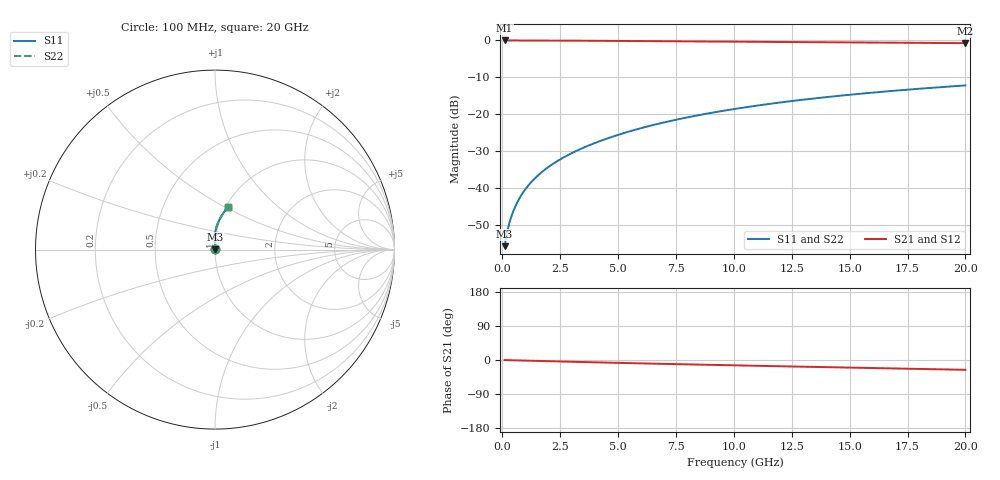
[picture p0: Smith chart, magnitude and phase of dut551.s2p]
! Touchstone file exported from HFSS 2024.1.0
!  File:  C:/UserFiles/LocalFiles/RDL_TSV_Batchsim/temp_RDL_top_551_1779680951.aedt
!  Generated:  11:51:07 AM May 25, 2026
!  Design:  RDL_top
!  Project:  temp_RDL_top_551_1779680951
!  Setup:  Setup1
!  Solution:  Sweep
! Variables:
!  dtsv = 10.80580581um
!  hbump = 3um
!  htsv = 96.78um
!  ldown = 100um
!  lrdl = 339.01um
!  p = 40
!  p1 = 59.57um
!  rhole = 1um
!  t = 450um
!  tdown = 3.915915916um
!  trdl = 4.05um
!  wdown = 15.38538539um
!  wrdl = 28.87um
# GHz S MA R 50.000000
! Terminal data exported
! Port[1] = Box2_T1
! Port[2] = Box2_T2
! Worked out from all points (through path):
!   200 points, 100 MHz to 20 GHz, reference 50 ohm
!   highest |S21| = -0.01 dB at 100 MHz (marker M1); lowest = -0.7 dB at 20 GHz (marker M2)
!   group delay of S21, straight-line fit = 3.54 ps
!   lowest |S11| = -55.7 dB at 100 MHz (marker M3), VSWR 1.00, Z = 50.1 + j0.108 ohm
!   |S11| at or under -10 dB: start of sweep to end of sweep
!   |S22| runs from -55.7 to -12.2 dB; largest |S21 - S12| = 3.1e-15
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0.1  0.001646 40.7  0.9987 -0.2  0.9987 -0.2  0.001646 40.7
! Gamma 0 0 0 0
! Port Impedance 50 0 50 0
0.2  0.00247 57.4  0.9986 -0.3  0.9986 -0.3  0.00247 57.4
0.3  0.003343 65.4  0.9985 -0.5  0.9985 -0.5  0.003343 65.4
0.4  0.004225 70.3  0.9984 -0.6  0.9984 -0.6  0.004225 70.3
0.5  0.005117 73.7  0.9983 -0.8  0.9983 -0.8  0.005117 73.7
0.6  0.006021 76.2  0.9982 -1.0  0.9982 -1.0  0.006021 76.2
0.8  0.007859 79.8  0.998 -1.3  0.998 -1.3  0.007859 79.8
1.1  0.01068 83.2  0.9976 -1.7  0.9976 -1.7  0.01068 83.2
1.5  0.01452 85.9  0.9968 -2.4  0.9968 -2.4  0.01452 85.9
1.8  0.01747 87.3  0.9962 -2.8  0.9962 -2.8  0.01747 87.3
2.1  0.02048 88.4  0.9954 -3.3  0.9954 -3.3  0.02048 88.4
2.7  0.02667 89.9  0.9936 -4.2  0.9936 -4.2  0.02667 89.9
3.5  0.03532 91.1  0.9907 -5.4  0.9907 -5.4  0.03532 91.1
4.2  0.04327 91.6  0.9879 -6.4  0.9879 -6.4  0.04327 91.6
5  0.05276 91.8  0.9844 -7.6  0.9844 -7.6  0.05275 91.7
6.8  0.07536 90.9  0.976 -10.0  0.976 -10.0  0.07535 90.8
8.4  0.0964 89.2  0.9686 -12.1  0.9686 -12.1  0.09639 89.2
10.1  0.1192 87.0  0.9609 -14.2  0.9609 -14.2  0.1192 87.0
11.7  0.1406 84.7  0.9539 -16.2  0.9539 -16.2  0.1406 84.7
13.4  0.1632 82.2  0.9466 -18.2  0.9466 -18.2  0.1632 82.2
16.7  0.2057 77.4  0.9327 -22.1  0.9327 -22.1  0.2057 77.4
20  0.2461 72.7  0.9186 -25.9  0.9186 -25.9  0.246 72.7
